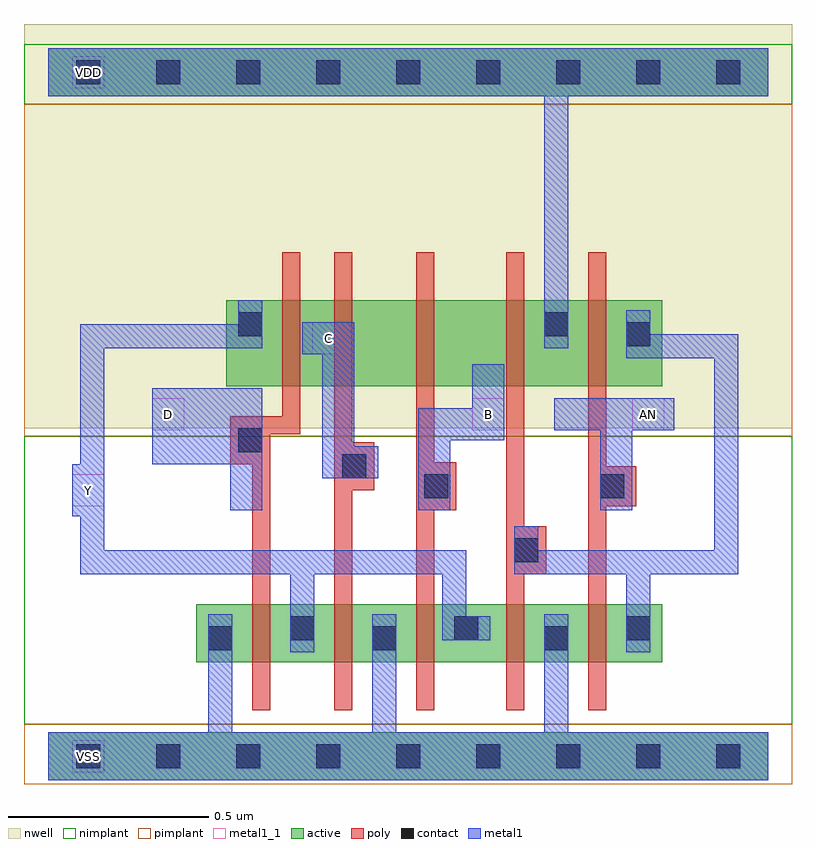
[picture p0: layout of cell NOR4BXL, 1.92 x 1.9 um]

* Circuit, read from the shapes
.subckt NOR4BXL AN B C D VDD VSS Y
M1 Y D VSS VSS nfet w=0.145u l=0.045u
M2 VSS C Y VSS nfet w=0.145u l=0.045u
M3 Y B VSS VSS nfet w=0.145u l=0.045u
M4 VSS n1 Y VSS nfet w=0.145u l=0.045u
M5 n1 AN VSS VSS nfet w=0.145u l=0.045u
M6 n2 D Y VDD pfet w=0.215u l=0.045u
M7 n3 C n2 VDD pfet w=0.215u l=0.045u
M8 n4 B n3 VDD pfet w=0.215u l=0.045u
M9 VDD n1 n4 VDD pfet w=0.215u l=0.045u
M10 n1 AN VDD VDD pfet w=0.215u l=0.045u
.ends

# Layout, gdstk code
import gdstk
lib = gdstk.Library(unit=1e-6, precision=5e-10)
def R(c, l, rs):  # rectangles x0, y0, x1, y1
    for r in rs: c.add(gdstk.rectangle(r[:2], r[2:], *l))
def A(c, l, x, y, w, h, nx, ny, dx, dy):  # array of equal rectangles
    R(c, l, [(x+i*dx, y+j*dy, x+i*dx+w, y+j*dy+h) for i in range(nx) for j in range(ny)])
def P(c, l, *ps):  # polygons
    for p in ps: c.add(gdstk.Polygon(p, *l))
active = (1, 0)
nwell = (2, 0)
poly = (3, 0)
nimplant = (4, 0)
pimplant = (5, 0)
contact = (6, 0)
metal1 = (7, 0)
metal1_1 = (7, 1)

nor4bxl = lib.new_cell('NOR4BXL')
R(nor4bxl, active, [(0,-0.06,1.8,0.06), (0.37,0.235,1.535,0.38), (0.445,0.925,1.535,1.14), (0,1.65,1.8,1.77)])
R(nor4bxl, nwell, [(-0.06,0.82,1.86,1.83)])
P(nor4bxl, poly, [(0.585,1.26),(0.63,1.26),(0.63,0.805),(0.555,0.805),(0.555,0.115),(0.51,0.115),(0.51,0.73),(0.455,0.73),(0.455,0.85),(0.585,0.85)],
  [(0.715,1.26),(0.76,1.26),(0.76,0.785),(0.815,0.785),(0.815,0.665),(0.76,0.665),(0.76,0.115),(0.715,0.115)],
  [(0.92,1.26),(0.965,1.26),(0.965,0.735),(1.02,0.735),(1.02,0.615),(0.965,0.615),(0.965,0.115),(0.92,0.115)],
  [(1.145,1.26),(1.19,1.26),(1.19,0.575),(1.245,0.575),(1.245,0.455),(1.19,0.455),(1.19,0.115),(1.145,0.115)],
  [(1.35,1.26),(1.395,1.26),(1.395,0.725),(1.47,0.725),(1.47,0.625),(1.395,0.625),(1.395,0.115),(1.35,0.115)])
R(nor4bxl, nimplant, [(-0.06,0.08,1.86,0.8), (-0.06,1.63,1.86,1.78)])
R(nor4bxl, pimplant, [(-0.06,-0.07,1.86,0.08), (-0.06,0.8,1.86,1.63)])
A(nor4bxl, contact, 0.07, -0.03, 0.06, 0.06, 9, 2, 0.2, 1.71)
R(nor4bxl, contact, [(0.4,0.265,0.46,0.325), (0.81,0.265,0.87,0.325), (1.24,0.265,1.3,0.325), (0.605,0.29,0.665,0.35), (1.015,0.29,1.075,0.35), (1.445,0.29,1.505,0.35), (1.165,0.485,1.225,0.545), (0.94,0.645,1,0.705), (1.38,0.645,1.44,0.705), (0.735,0.695,0.795,0.755), (0.475,0.76,0.535,0.82), (1.445,1.025,1.505,1.085), (0.475,1.05,0.535,1.11), (1.24,1.05,1.3,1.11)])
P(nor4bxl, metal1, [(0,1.77),(1.8,1.77),(1.8,1.65),(1.3,1.65),(1.3,1.02),(1.24,1.02),(1.24,1.65),(0,1.65)],
  [(0.475,1.14),(0.535,1.14),(0.535,1.02),(0.14,1.02),(0.14,0.515),(1.045,0.515),(1.045,0.35),(1.105,0.35),(1.105,0.29),(0.985,0.29),(0.985,0.455),(0.665,0.455),(0.665,0.26),(0.605,0.26),(0.605,0.455),(0.08,0.455),(0.08,0.6),(0.06,0.6),(0.06,0.73),(0.08,0.73),(0.08,1.08),(0.475,1.08)],
  [(1.445,1.115),(1.505,1.115),(1.505,1.055),(1.725,1.055),(1.725,0.455),(1.505,0.455),(1.505,0.26),(1.445,0.26),(1.445,0.455),(1.165,0.455),(1.165,0.575),(1.225,0.575),(1.225,0.515),(1.665,0.515),(1.665,0.995),(1.445,0.995)],
  [(0.26,0.92),(0.535,0.92),(0.535,0.615),(0.455,0.615),(0.455,0.73),(0.26,0.73)],
  [(1.06,0.98),(1.14,0.98),(1.14,0.79),(1.005,0.79),(1.005,0.615),(0.925,0.615),(0.925,0.87),(1.06,0.87)],
  [(1.265,0.895),(1.565,0.895),(1.565,0.815),(1.46,0.815),(1.46,0.615),(1.38,0.615),(1.38,0.815),(1.265,0.815)],
  [(0.635,1.085),(0.765,1.085),(0.765,0.775),(0.825,0.775),(0.825,0.695),(0.685,0.695),(0.685,1.005),(0.635,1.005)],
  [(0.4,0.355),(0.46,0.355),(0.46,0.06),(0.81,0.06),(0.81,0.355),(0.87,0.355),(0.87,0.06),(1.24,0.06),(1.24,0.355),(1.3,0.355),(1.3,0.06),(1.8,0.06),(1.8,-0.06),(0,-0.06),(0,0.06),(0.4,0.06)])
R(nor4bxl, metal1_1, [(0.06,-0.04,0.14,0.04), (0.06,0.625,0.14,0.705), (0.26,0.815,0.34,0.895), (1.06,0.815,1.14,0.895), (1.46,0.815,1.54,0.895), (0.66,1.005,0.74,1.085), (0.06,1.67,0.14,1.75)])
nor4bxl.add(gdstk.Label('Y', (0.1,0.665), layer=7, texttype=1))
nor4bxl.add(gdstk.Label('AN', (1.5,0.855), layer=7, texttype=1))
nor4bxl.add(gdstk.Label('B', (1.1,0.855), layer=7, texttype=1))
nor4bxl.add(gdstk.Label('C', (0.7,1.045), layer=7, texttype=1))
nor4bxl.add(gdstk.Label('D', (0.3,0.855), layer=7, texttype=1))
nor4bxl.add(gdstk.Label('VDD', (0.1,1.71), layer=7, texttype=1))
nor4bxl.add(gdstk.Label('VSS', (0.1,0), layer=7, texttype=1))
nor4bxl.add(gdstk.Label('NOR4BXL', (0,0), layer=63, texttype=0))

lib.write_gds('NOR4BXL.gds')
